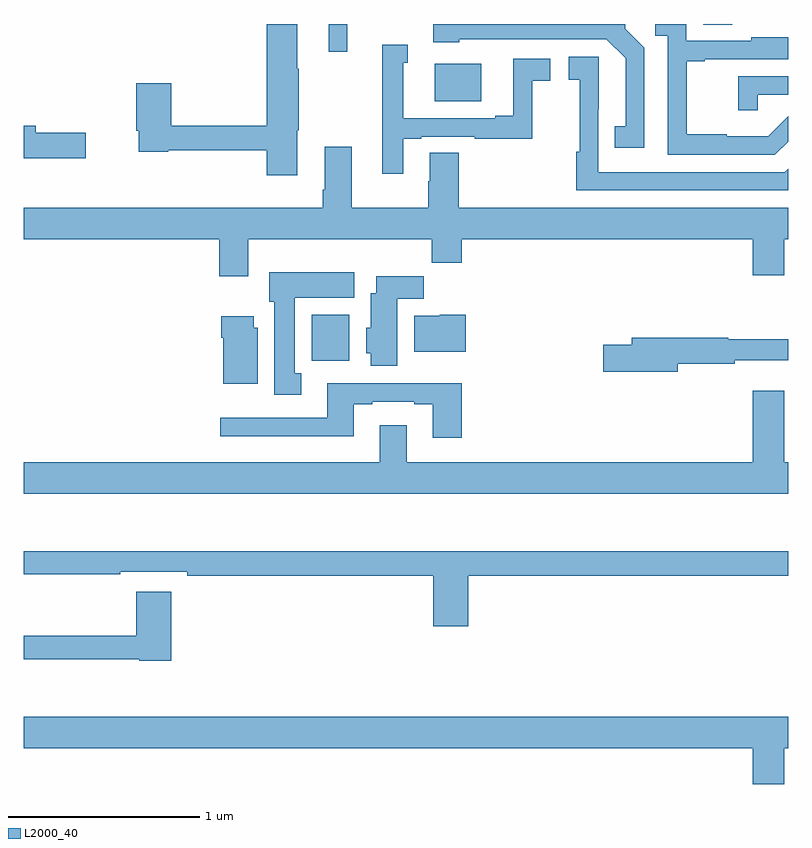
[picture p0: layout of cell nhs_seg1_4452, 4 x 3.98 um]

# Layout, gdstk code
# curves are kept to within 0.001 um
import gdstk
lib = gdstk.Library(unit=1e-6, precision=1e-09)
def R(c, l, rs):  # rectangles x0, y0, x1, y1
    for r in rs: c.add(gdstk.rectangle(r[:2], r[2:], *l))
def P(c, l, *ps):  # polygons
    for p in ps: c.add(gdstk.Polygon(p, *l))
L2000_40 = (2000, 40)

nhs_seg1_4452 = lib.new_cell('nhs_seg1_4452')
R(nhs_seg1_4452, L2000_40, [(354.506,544.436,354.703,544.678), (355.151,545.795,355.393,545.992), (354.596,546.054,354.693,546.199), (356.555,546.196,356.708,546.199)])
P(nhs_seg1_4452, L2000_40, [(356.247,546.074),(356.148,546.173),(356.148,546.199),(355.142,546.199),(355.142,546.104),(355.278,546.104),(355.278,546.12),(356.049,546.12),(356.15,546.019),(356.15,545.663),(356.092,545.663),(356.092,545.55),(356.247,545.55)],
  [(357,545.583),(357,545.715),(356.896,545.611),(356.678,545.611),(356.678,545.623),(356.471,545.623),(356.471,546.003),(356.563,546.003),(356.563,546.015),(357,546.015),(357,546.13),(356.807,546.13),(356.807,546.111),(356.466,546.111),(356.466,546.199),(356.305,546.199),(356.305,546.137),(356.37,546.137),(356.37,545.514),(356.931,545.514)],
  [(354.43,545.643),(354.438,545.643),(354.438,545.966),(354.43,545.966),(354.43,546.199),(354.272,546.199),(354.272,545.666),(353.771,545.666),(353.771,545.89),(353.588,545.89),(353.588,545.641),(353.6,545.641),(353.6,545.53),(353.754,545.53),(353.754,545.538),(354.272,545.538),(354.272,545.406),(354.43,545.406)],
  [(354.985,545.598),(355.081,545.598),(355.081,545.61),(355.36,545.61),(355.36,545.598),(355.662,545.598),(355.662,545.902),(355.756,545.902),(355.756,546.018),(355.562,546.018),(355.562,545.719),(355.466,545.719),(355.466,545.706),(354.985,545.706),(354.985,545.997),(355.009,545.997),(355.009,546.091),(354.876,546.091),(354.876,545.659),(354.875,545.659),(354.875,545.415),(354.985,545.415)],
  [(357,545.442),(356.982,545.424),(356.007,545.424),(356.008,546.028),(355.851,546.028),(355.851,545.907),(355.909,545.907),(355.909,545.531),(355.891,545.531),(355.891,545.328),(357,545.328)],
  [(356.841,545.829),(357,545.829),(357,545.925),(356.74,545.925),(356.74,545.748),(356.841,545.748)],
  [(353.323,545.63),(353.062,545.63),(353.062,545.666),(353,545.666),(353,545.495),(353.323,545.495)],
  [(354.175,545.072),(355.135,545.072),(355.135,544.948),(355.292,544.948),(355.292,545.072),(356.816,545.072),(356.816,544.884),(356.98,544.884),(356.98,545.072),(357,545.072),(357,545.236),(355.277,545.236),(355.277,545.525),(355.124,545.525),(355.124,545.375),(355.117,545.375),(355.117,545.236),(354.715,545.236),(354.715,545.557),(354.575,545.557),(354.575,545.332),(354.563,545.332),(354.563,545.236),(353,545.236),(353,545.072),(354.023,545.072),(354.023,544.878),(354.175,544.878)],
  [(354.451,544.37),(354.418,544.37),(354.418,544.766),(354.73,544.766),(354.73,544.9),(354.284,544.9),(354.284,544.746),(354.311,544.746),(354.311,544.257),(354.451,544.257)],
  [(354.955,544.76),(355.094,544.76),(355.094,544.879),(354.845,544.879),(354.845,544.789),(354.815,544.789),(354.815,544.608),(354.791,544.608),(354.791,544.476),(354.815,544.476),(354.815,544.409),(354.955,544.409)],
  [(355.312,544.678),(355.176,544.678),(355.176,544.672),(355.043,544.672),(355.043,544.484),(355.312,544.484)],
  [(354.223,544.608),(354.202,544.608),(354.202,544.669),(354.032,544.669),(354.032,544.556),(354.044,544.556),(354.044,544.316),(354.223,544.316)],
  [(356.422,544.42),(356.72,544.42),(356.72,544.439),(357,544.439),(357,544.549),(356.687,544.549),(356.687,544.556),(356.183,544.556),(356.183,544.52),(356.034,544.52),(356.034,544.378),(356.422,544.378)],
  [(355.292,544.318),(355.047,544.318),(355.047,544.317),(354.587,544.317),(354.587,544.137),(354.027,544.137),(354.027,544.04),(354.727,544.04),(354.727,544.209),(354.823,544.209),(354.823,544.221),(355.043,544.221),(355.043,544.209),(355.139,544.209),(355.139,544.032),(355.292,544.032)],
  [(357,543.904),(356.98,543.904),(356.98,544.279),(356.816,544.279),(356.816,543.904),(355.003,543.904),(355.003,544.099),(354.863,544.099),(354.863,543.904),(353,543.904),(353,543.74),(357,543.74)],
  [(355.325,543.31),(357,543.31),(357,543.439),(353,543.439),(353,543.318),(353.504,543.318),(353.504,543.33),(353.854,543.33),(353.854,543.31),(355.142,543.31),(355.142,543.045),(355.325,543.045)],
  [(353.771,543.226),(353.588,543.226),(353.588,542.995),(353,542.995),(353,542.874),(353.604,542.874),(353.604,542.866),(353.771,542.866)],
  [(356.98,542.408),(357,542.408),(357,542.572),(353,542.572),(353,542.408),(356.816,542.408),(356.816,542.22),(356.98,542.22)])

lib.write_gds('nhs_seg1_4452.gds')
